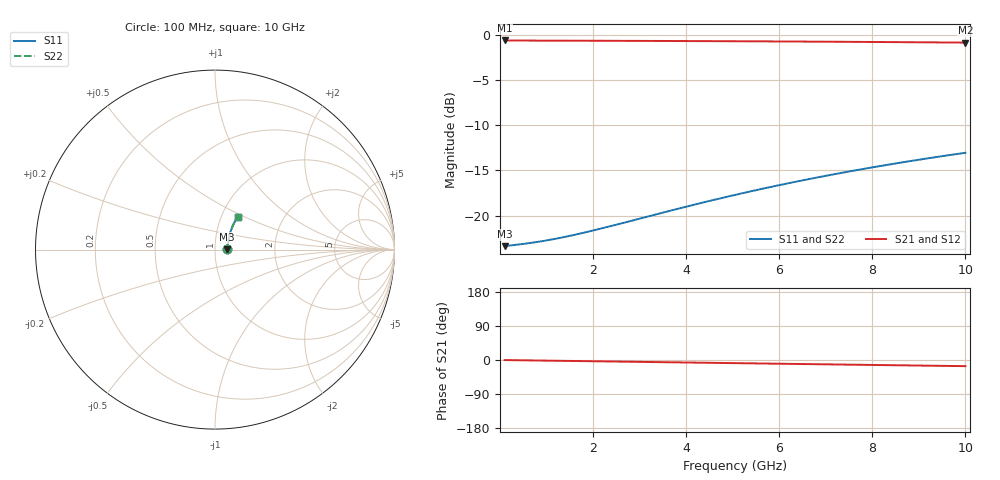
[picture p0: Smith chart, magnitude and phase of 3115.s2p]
# Hz S RI R 50.00
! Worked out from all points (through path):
!   100 points, 100 MHz to 10 GHz, reference 50 ohm
!   highest |S21| = -0.61 dB at 100 MHz (marker M1); lowest = -0.8 dB at 10 GHz (marker M2)
!   group delay of S21, straight-line fit = 4.51 ps
!   lowest |S11| = -23.4 dB at 100 MHz (marker M3), VSWR 1.15, Z = 57.3 + j0.229 ohm
!   |S11| at or under -10 dB: start of sweep to end of sweep
!   |S22| runs from -23.4 to -13.0 dB; largest |S21 - S12| = 0
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1e8  0.0676 0.00199  0.9324 -0.00269  0.9324 -0.00269  0.0676 0.00199
6e8  0.0692 0.0119  0.9308 -0.0161  0.9308 -0.0161  0.0692 0.0119
8e8  0.0696 0.0158  0.9304 -0.0214  0.9304 -0.0214  0.0696 0.0158
1e9  0.0701 0.0198  0.9299 -0.0268  0.9299 -0.0268  0.0701 0.0198
1.2e9  0.0705 0.0237  0.9294 -0.0321  0.9294 -0.0321  0.0705 0.0237
1.4e9  0.071 0.0276  0.9289 -0.0374  0.9289 -0.0374  0.071 0.0276
1.8e9  0.0721 0.0355  0.9278 -0.048  0.9278 -0.048  0.0721 0.0355
2.1e9  0.0729 0.0413  0.9269 -0.056  0.9269 -0.056  0.0729 0.0413
2.4e9  0.0739 0.0471  0.926 -0.0639  0.926 -0.0639  0.0739 0.0471
3.4e9  0.0776 0.0664  0.9221 -0.0902  0.9221 -0.0902  0.0776 0.0664
4.3e9  0.0818 0.0835  0.9177 -0.1136  0.9177 -0.1136  0.0818 0.0835
4.7e9  0.084 0.0911  0.9154 -0.124  0.9154 -0.124  0.084 0.0911
5.1e9  0.0863 0.0985  0.9131 -0.1342  0.9131 -0.1342  0.0863 0.0985
5.5e9  0.0887 0.1059  0.9105 -0.1444  0.9105 -0.1444  0.0887 0.1059
5.9e9  0.0913 0.1132  0.9078 -0.1545  0.9078 -0.1545  0.0913 0.1132
6.3e9  0.0941 0.1205  0.9049 -0.1646  0.9049 -0.1646  0.0941 0.1205
6.7e9  0.097 0.1276  0.9019 -0.1746  0.9019 -0.1746  0.097 0.1276
7.5e9  0.1032 0.1417  0.8953 -0.1943  0.8953 -0.1943  0.1032 0.1417
7.9e9  0.1066 0.1486  0.8918 -0.204  0.8918 -0.204  0.1066 0.1486
8.4e9  0.111 0.1571  0.8872 -0.216  0.8872 -0.216  0.111 0.1571
9.2e9  0.1185 0.1703  0.8793 -0.2349  0.8793 -0.2349  0.1185 0.1703
1e10  0.1265 0.1832  0.8709 -0.2534  0.8709 -0.2534  0.1265 0.1832
